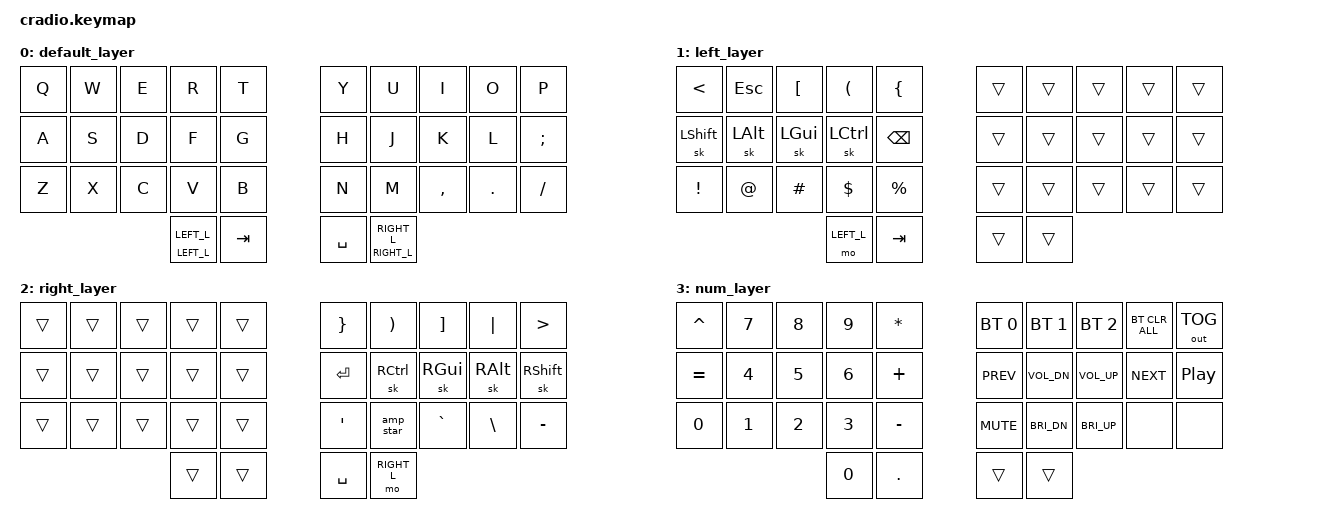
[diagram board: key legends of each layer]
/*
 * Copyright (c) 2020 The ZMK Contributors
 *
 * SPDX-License-Identifier: MIT
 */

#undef ZMK_BEHAVIORS_KEEP_ALL

#include <behaviors.dtsi>
#include <dt-bindings/zmk/keys.h>
#include <dt-bindings/zmk/bt.h>
#include <dt-bindings/zmk/outputs.h>

#define LEFT_L   1
#define RIGHT_L   2
#define NUM 3

/ {
    behaviors {
        ltc: layer_tap_chamber {
            compatible = "zmk,behavior-hold-tap";
            #binding-cells = <2>;
            flavor = "balanced";
            tapping-term-ms = <200>;
            bindings = <&mo>, <&sl>;   // hold -> momentary, tap -> sticky layer
        };
        amp_star: amp_star {
            compatible = "zmk,behavior-mod-morph";
            #binding-cells = <0>;
            bindings = <&kp AMPS>, <&kp STAR>;
            mods = <(MOD_LSFT|MOD_RSFT)>;
        };
    };

    combos {
        compatible = "zmk,combos";
        combo_num {
            timeout-ms = <50>;          // both must be pressed within 50ms
            key-positions = <30 33>;    // the two thumb layer-key positions
            bindings = <&mo NUM>;
            layers = <0>;               // only triggers from base layer
        };
    };


    keymap {
        compatible = "zmk,keymap";
        default_layer {
            bindings = <
                &kp Q      &kp W      &kp E       &kp R          &kp T         &kp Y            &kp U          &kp I       &kp O      &kp P
                &kp A      &kp S      &kp D       &kp F          &kp G         &kp H            &kp J          &kp K       &kp L      &kp SEMI 
                &kp Z      &kp X      &kp C       &kp V          &kp B         &kp N            &kp M          &kp COMMA   &kp DOT    &kp FSLH
                &ltc LEFT_L LEFT_L        &kp TAB    &kp SPACE         &ltc RIGHT_L RIGHT_L
            >;
        };
        left_layer {
            bindings = <
                &kp LT     &kp ESC   &kp LBKT    &kp LPAR   &kp LBRC          &trans           &trans         &trans      &trans     &trans
                &sk LSHFT  &sk LALT   &sk LGUI    &sk LCTRL  &kp BSPC          &trans           &trans         &trans      &trans     &trans
                &kp EXCL  &kp AT   &kp HASH    &kp DLLR   &kp PRCNT         &trans           &trans         &trans      &trans     &trans
                &mo LEFT_L   &kp TAB         &trans           &trans
            >;
        };
        right_layer {
            bindings = < 
            &trans     &trans     &trans      &trans     &trans            &kp RBRC         &kp RPAR       &kp RBKT    &kp PIPE      &kp GT
            &trans     &trans     &trans      &trans     &trans            &kp RET          &sk RCTRL      &sk RGUI    &sk RALT      &sk RSHFT
            &trans     &trans     &trans      &trans     &trans            &kp SQT          &amp_star      &kp GRAVE     &kp BSLH  &kp MINUS
            &trans     &trans            &kp SPACE         &mo RIGHT_L 
            >;
        };
        num_layer {
            bindings = <
                &kp CARET   &kp N7   &kp N8   &kp N9   &kp STAR       &bt BT_SEL 0  &bt BT_SEL 1  &bt BT_SEL 2  &bt BT_CLR_ALL   &out OUT_TOG
                &kp EQUAL   &kp N4   &kp N5   &kp N6   &kp PLUS       &kp C_PREV    &kp C_VOL_DN  &kp C_VOL_UP  &kp C_NEXT   &kp C_PP
                &kp N0   &kp N1   &kp N2   &kp N3   &kp MINUS         &kp C_MUTE    &kp C_BRI_DN  &kp C_BRI_UP  &none  &none
                                              &kp N0   &kp DOT        &trans   &trans
            >;
        };  

    };
};
